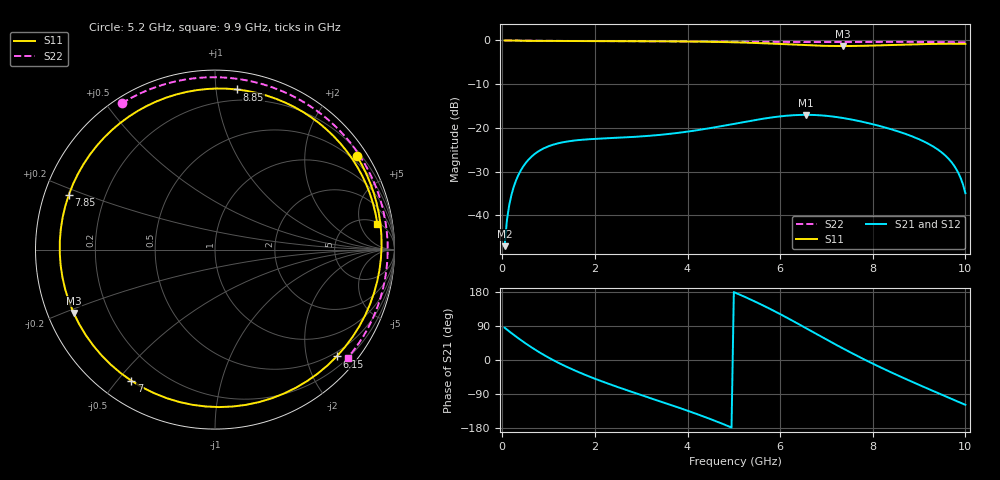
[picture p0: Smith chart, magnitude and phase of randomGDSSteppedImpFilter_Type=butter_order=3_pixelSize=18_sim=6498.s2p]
! freq	dB(S11)	phase(S11)	dB(S12)	phase(S12)
!  dB(S21)	phase(S21)	dB(S22)	phase(S22)
!S-par simulation data
#  GHz  S  DB  R 50
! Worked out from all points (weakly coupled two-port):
!   200 points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, 50 MHz to 10 GHz, reference 50 ohm
!   highest |S21| = -17.02 dB at 6.55 GHz (marker M1); lowest = -47.1 dB at 50 MHz (marker M2)
!   lowest |S11| = -1.3 dB at 7.35 GHz (marker M3), VSWR 13.62, Z = 3.84 - j10.6 ohm
!   |S11| at or under -10 dB: nowhere
!   |S22| runs from -0.4 to 0.0 dB; largest |S21 - S12| = 0
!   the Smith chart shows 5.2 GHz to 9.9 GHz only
!   S11 on the Smith chart (normalised r, x): 5.2 GHz: 0.33, +3.28; 6.15 GHz: 0.40, -2.60; 7 GHz: 0.09, -0.54; 7.85 GHz: 0.07, +0.18; 8.85 GHz: 0.12, +1.14; 9.9 GHz: 5, +10
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0.05  -0.00 -6.5  -47.08 85.1  -47.08 85.1  -0.00 -3.1
0.25  -0.05 -31.7  -33.41 66.0  -33.41 66.0  -0.03 -15.5
0.75  -0.11 -86.1  -25.59 24.1  -25.59 24.1  -0.07 -45.6
1.25  -0.13 -126.3  -23.43 -9.7  -23.43 -9.7  -0.11 -73.8
1.75  -0.14 -156.5  -22.71 -37.2  -22.71 -37.2  -0.14 -99.7
2.5  -0.15 167.3  -22.27 -71.7  -22.27 -71.7  -0.17 -134.3
3.4  -0.19 128.2  -21.61 -108.8  -21.61 -108.8  -0.20 -171.0
4.3  -0.28 86.1  -20.39 -147.0  -20.39 -147.0  -0.24 155.2
5.05  -0.43 43.4  -19.00 176.6  -19.00 176.6  -0.29 127.9
5.2  -0.48 33.6  -18.71 168.6  -18.71 168.6  -0.30 122.5
5.7  -0.67 -3.0  -17.80 139.9  -17.80 139.9  -0.33 104.5
6.15  -0.89 -41.3  -17.22 111.4  -17.22 111.4  -0.35 88.3
6.55  -1.09 -78.8  -17.02 84.6  -17.02 84.6  -0.37 74.0
6.7  -1.15 -93.3  -17.05 74.4  -17.05 74.4  -0.37 68.7
7  -1.24 -122.6  -17.25 54.1  -17.25 54.1  -0.36 58.0
7.35  -1.28 -155.9  -17.74 30.9  -17.74 30.9  -0.35 45.6
7.85  -1.21 159.6  -18.79 -0.6  -18.79 -0.6  -0.34 28.0
8.35  -1.07 119.1  -20.18 -29.9  -20.18 -29.9  -0.33 10.9
8.85  -0.91 82.1  -21.96 -57.6  -21.96 -57.6  -0.34 -5.8
9.35  -0.79 47.2  -24.57 -84.2  -24.57 -84.2  -0.36 -22.0
9.9  -0.76 9.0  -31.55 -113.2  -31.55 -113.2  -0.41 -39.2
10  -0.79 1.7  -34.97 -118.2  -34.97 -118.2  -0.43 -42.3
